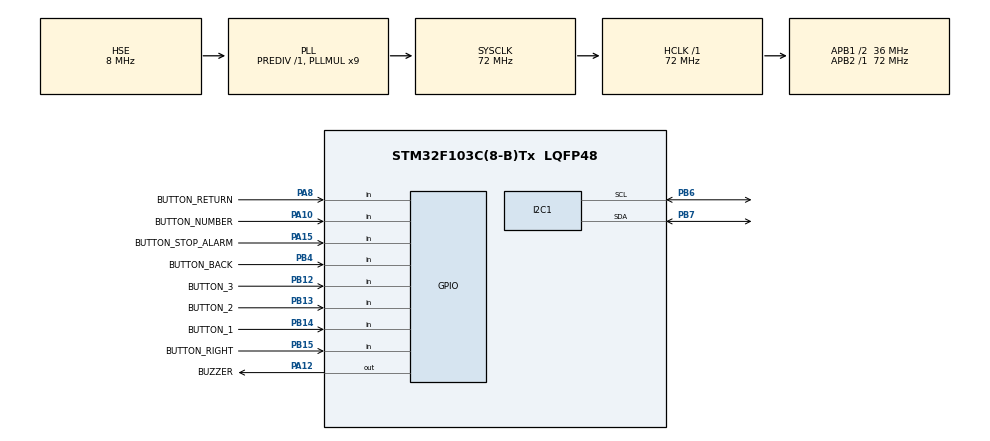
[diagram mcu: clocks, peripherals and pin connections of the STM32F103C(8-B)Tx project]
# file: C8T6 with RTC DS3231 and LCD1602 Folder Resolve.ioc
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Mcu.Family=STM32F1
Mcu.Name=STM32F103C(8-B)Tx
Mcu.Package=LQFP48
NVIC.PriorityGroup=NVIC_PRIORITYGROUP_4
PA10.GPIO_Label=BUTTON_NUMBER
PA10.GPIO_Mode=GPIO_MODE_INPUT
PA10.GPIO_PuPd=GPIO_PULLUP
PA10.Signal=GPIO_Input
PA12.GPIO_Label=BUZZER
PA12.Signal=GPIO_Output
PA13.Mode=Serial_Wire
PA13.Signal=SYS_JTMS-SWDIO
PA14.Mode=Serial_Wire
PA14.Signal=SYS_JTCK-SWCLK
PA15.GPIO_Label=BUTTON_STOP_ALARM
PA15.GPIO_PuPd=GPIO_PULLUP
PA15.Signal=GPIO_Input
PA8.GPIO_Label=BUTTON_RETURN
PA8.GPIO_PuPd=GPIO_PULLUP
PA8.Signal=GPIO_Input
PB12.GPIO_Label=BUTTON_3
PB12.GPIO_Mode=GPIO_MODE_INPUT
PB12.GPIO_PuPd=GPIO_PULLUP
PB12.Signal=GPIO_Input
PB13.GPIO_Label=BUTTON_2
PB13.GPIO_Mode=GPIO_MODE_INPUT
PB13.GPIO_PuPd=GPIO_PULLUP
PB13.Signal=GPIO_Input
PB14.GPIO_Label=BUTTON_1
PB14.GPIO_Mode=GPIO_MODE_INPUT
PB14.GPIO_PuPd=GPIO_PULLUP
PB14.Signal=GPIO_Input
PB15.GPIO_Label=BUTTON_RIGHT
PB15.GPIO_Mode=GPIO_MODE_INPUT
PB15.GPIO_PuPd=GPIO_PULLUP
PB15.Signal=GPIO_Input
PB4.GPIO_Label=BUTTON_BACK
PB4.GPIO_PuPd=GPIO_PULLUP
PB4.Signal=GPIO_Input
PB6.Mode=I2C
PB6.Signal=I2C1_SCL
PB7.Mode=I2C
PB7.Signal=I2C1_SDA
PD0-OSC_IN.Mode=HSE-External-Oscillator
PD0-OSC_IN.Signal=RCC_OSC_IN
PD1-OSC_OUT.Mode=HSE-External-Oscillator
PD1-OSC_OUT.Signal=RCC_OSC_OUT
ProjectManager.HeapSize=0x200
ProjectManager.StackSize=0x400
ProjectManager.TargetToolchain=STM32CubeIDE
RCC.AHBFreq_Value=72000000
RCC.APB1CLKDivider=RCC_HCLK_DIV2
RCC.APB1Freq_Value=36000000
RCC.APB1TimFreq_Value=72000000
RCC.APB2Freq_Value=72000000
RCC.APB2TimFreq_Value=72000000
RCC.HCLKFreq_Value=72000000
RCC.PLLMUL=RCC_PLL_MUL9
RCC.PLLSourceVirtual=RCC_PLLSOURCE_HSE
RCC.SYSCLKFreq_VALUE=72000000
RCC.SYSCLKSource=RCC_SYSCLKSOURCE_PLLCLK
RCC.USBFreq_Value=72000000
board=custom

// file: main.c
/* USER CODE BEGIN Header */
/**
 ******************************************************************************
 * @file           : main.c
 * @brief          : Main program body
 ******************************************************************************
 * @attention
 *
 * <h2><center>&copy; Copyright (c) 2020 STMicroelectronics.
 * All rights reserved.</center></h2>
 *
 * This software component is licensed by ST under BSD 3-Clause license,
 * the "License"; You may not use this file except in compliance with the
 * License. You may obtain a copy of the License at:
 *                        opensource.org/licenses/BSD-3-Clause
 *
 ******************************************************************************
 */
/* USER CODE END Header */
#include "main.h"

/* USER CODE BEGIN Includes */

#include "i2c-lcd.h"
#include "stdio.h"
#include "stdlib.h"
#include "string.h"
#include <stdbool.h>
/* USER CODE END Includes */

I2C_HandleTypeDef hi2c1;

void SystemClock_Config(void);
static void MX_GPIO_Init(void);
static void MX_I2C1_Init(void);

/* USER CODE BEGIN 0 */

#define DS3231_ADDRESS 0xD0

// Convert normal decimal numbers to binary coded decimal
uint8_t decToBcd(int val) {
	return (uint8_t) ((val / 10 * 16) + (val % 10));
}
// Convert binary coded decimal to normal decimal numbers
int bcdToDec(uint8_t val) {
	return (int) ((val / 16 * 10) + (val % 16));
}

typedef struct {
	uint8_t seconds;
	uint8_t minutes;
	uint8_t hour;
	uint8_t dayofweek;
	uint8_t dayofmonth;
	uint8_t month;
	uint8_t year;
} TIME;

TIME time;

// function to set time

void Set_Time(uint8_t sec, uint8_t min, uint8_t hour, uint8_t dow, uint8_t dom,
		uint8_t month, uint8_t year) {
	uint8_t set_time[7];
	set_time[0] = decToBcd(sec);
	set_time[1] = decToBcd(min);
	set_time[2] = decToBcd(hour);
	set_time[3] = decToBcd(dow);
	set_time[4] = decToBcd(dom);
	set_time[5] = decToBcd(month);
	set_time[6] = decToBcd(year);

	HAL_I2C_Mem_Write(&hi2c1, DS3231_ADDRESS, 0x00, 1, set_time, 7, 1000);
}

void Get_Time(void) {
	uint8_t get_time[7];
	HAL_I2C_Mem_Read(&hi2c1, DS3231_ADDRESS, 0x00, 1, get_time, 7, 1000);
	time.seconds = bcdToDec(get_time[0]);
	time.minutes = bcdToDec(get_time[1]);
	time.hour = bcdToDec(get_time[2]);
	time.dayofweek = bcdToDec(get_time[3]);
	time.dayofmonth = bcdToDec(get_time[4]);
	time.month = bcdToDec(get_time[5]);
	time.year = bcdToDec(get_time[6]);
}

float Get_Temp(void) {
	uint8_t temp[2];

	HAL_I2C_Mem_Read(&hi2c1, DS3231_ADDRESS, 0x11, 1, temp, 2, 1000);
	return ((temp[0]) + (temp[1] >> 6) / 4.0);
}

void force_temp_conv(void) {
	uint8_t status = 0;
	uint8_t control = 0;
	HAL_I2C_Mem_Read(&hi2c1, DS3231_ADDRESS, 0x0F, 1, &status, 1, 100); // read status register
	if (!(status & 0x04)) {
		HAL_I2C_Mem_Read(&hi2c1, DS3231_ADDRESS, 0x0E, 1, &control, 1, 100); // read control register
		HAL_I2C_Mem_Write(&hi2c1, DS3231_ADDRESS, 0x0E, 1,
				(uint8_t*) (control | (0x20)), 1, 100);
	}
}
float TEMP;
char buffer[15];

int cur = 6;
int alarm_num[10];
int num_i = 0;
//string num_c[0];
int status_button_1;
int status_button_2;
int status_button_3;
int status_button_return;
int status_button_right;
int status_button_reset;
int status_button_number;
int status_button_stop;
bool check_time(int h, int m, int s) {
	if (time.hour == h && time.minutes == m && time.seconds == s)
		return true;
	else
		return false;
}

void update_Time() {
	Get_Time();

	sprintf(buffer, "%02d:%02d:%02d", time.hour, time.minutes, time.seconds);
	lcd_put_cur(0, 0);
	lcd_send_string(buffer);

	sprintf(buffer, "%02d-%02d-20%02d", time.dayofmonth, time.month, time.year);
	lcd_put_cur(1, 0);
	lcd_send_string(buffer);

	force_temp_conv();

	TEMP = Get_Temp();

	lcd_put_cur(0, 10);

	sprintf(buffer, "%f", TEMP);

	lcd_send_string(buffer);
}

void button_menu() {
	lcd_put_cur(1, 13);
	lcd_send_string("123");
}

void first_menu() {
	lcd_put_cur(0, 0);
	lcd_send_string("1");
	lcd_put_cur(0, 2);
	lcd_send_string("normal alarm");
	lcd_put_cur(1, 0);
	lcd_send_string("time:");
	lcd_put_cur(1, 6);
	lcd_send_string("00:00:00");
	lcd_put_cur(1, 15);
	lcd_send_string("y");
	lcd_put_cur(1, 14);
	lcd_send_data(0x7F);
	lcd_put_cur(1, 6);
}

void second_menu() {
	lcd_put_cur(0, 0);
	lcd_send_string("2");
	lcd_put_cur(0, 2);
	lcd_send_string("count time");
	lcd_put_cur(1, 0);
	lcd_send_string("time:");
	lcd_put_cur(1, 6);
	lcd_send_string("00:00:00");
	lcd_put_cur(1, 15);
	lcd_send_string("y");
	lcd_put_cur(1, 14);
	lcd_send_data(0x7F);
	lcd_put_cur(1, 6);
}

void third_menu() {
	lcd_put_cur(0, 0);
	lcd_send_string("3");
	lcd_put_cur(0, 2);
	lcd_send_string("alarm w time");
	lcd_put_cur(1, 0);
	lcd_send_string("time:");
	lcd_put_cur(1, 6);
	lcd_send_string("00:00:00");
	lcd_put_cur(1, 15);
	lcd_send_string("y");
	lcd_put_cur(1, 14);
	lcd_send_data(0x7F);
	lcd_put_cur(1, 6);
}

void alarm(int hour, int minute, int second) {
	if (check_time(hour, minute, second)) {
		HAL_GPIO_TogglePin(BUZZER_GPIO_Port, BUZZER_Pin);
	}
}

/* USER CODE END 0 */

int main(void) {

	/* MCU Configuration--------------------------------------------------------*/

	/* Reset of all peripherals, Initializes the Flash interface and the Systick. */
	HAL_Init();

	/* Configure the system clock */
	SystemClock_Config();

	/* Initialize all configured peripherals */
	MX_GPIO_Init();
	MX_I2C1_Init();
	/* USER CODE BEGIN 2 */
	int i = 0;
	char s[3];
	int hour = 0;
	int minute = 0;
	int second = 0;
//	itoa(i, s, 10);
	HAL_GPIO_Init(BUZZER_GPIO_Port, BUZZER_Pin);
	HAL_GPIO_WritePin(BUZZER_GPIO_Port, BUZZER_Pin, 1);
//  HAL_GPIO_WritePin(BUZZER_2_GPIO_Port, BUZZER_2_Pin, 1);
//  HAL_GPIO_Init(BUTTON_GPIO_Port, BUTTON_Pin);
//  HAL_GPIO_Init(LED_GPIO_Port, LED_Pin);
	lcd_init();
//	lcd_put_cur(0, 0);
//	lcd_send_string(s);
//  if (HAL_GPIO_ReadPin(BUZZER_GPIO_Port, BUZZER_Pin) == 0) {
//	  HAL_GPIO_WritePin(BUZZER_GPIO_Port, BUZZER_Pin, 1);
//  }
//  HAL_TIM_Base_Start_IT(&htim2);

	//Set_Time(00, 48, 12, 5, 18, 4, 24);
//  	if (check_time(hour, minute, second) == true) {
//		HAL_TIM_Base_Start_IT(&htim2);
//	}
//	if (time.seconds == second + 10) {
//		HAL_TIM_Base_Stop_IT(&htim2);
//	}
//	itoa(hour, s, 10);
//	lcd_send_string(s);
//	lcd_put_cur(1, 4);
//	itoa(minute, s, 10);
//	lcd_send_string(s);
//	lcd_put_cur(1, 10);
//	itoa(second, s, 10);
//	lcd_send_string(s);
//	lcd_put_cur(1, 13);
	/* USER CODE END 2 */

	/* Infinite loop */
	while (1) {

		/* USER CODE BEGIN 3 */

		status_button_1 = HAL_GPIO_ReadPin(BUTTON_1_GPIO_Port, BUTTON_1_Pin);
		status_button_2 = HAL_GPIO_ReadPin(BUTTON_2_GPIO_Port, BUTTON_2_Pin);
		status_button_3 = HAL_GPIO_ReadPin(BUTTON_3_GPIO_Port, BUTTON_3_Pin);
		status_button_stop = HAL_GPIO_ReadPin(BUTTON_STOP_ALARM_GPIO_Port,
		BUTTON_STOP_ALARM_Pin);
//		status_button_number = HAL_GPIO_ReadPin(BUTTON_NUMBER_GPIO_Port,
//		BUTTON_NUMBER_Pin);
		if (status_button_1 == 0) {
//			HAL_Delay(1000);
			lcd_clear();
			first_menu();
			lcd_put_cur(1, 6);
			lcd_send_cmd(0xF);
			while (1) {
				status_button_return = HAL_GPIO_ReadPin(BUTTON_RETURN_GPIO_Port,
				BUTTON_RETURN_Pin);
				status_button_right = HAL_GPIO_ReadPin(BUTTON_RIGHT_GPIO_Port,
				BUTTON_RIGHT_Pin);
				status_button_reset = HAL_GPIO_ReadPin(BUTTON_BACK_GPIO_Port,
				BUTTON_BACK_Pin);
				status_button_number = HAL_GPIO_ReadPin(BUTTON_NUMBER_GPIO_Port,
				BUTTON_NUMBER_Pin);

				if (cur == 15) {
					lcd_clear();
					lcd_put_cur(0, 0);
					lcd_send_string("FINISHED!");
					lcd_put_cur(1, 0);
					hour = alarm_num[1] * 10 + alarm_num[2];
					minute = alarm_num[3] * 10 + alarm_num[4];
					second = alarm_num[5] * 10 + alarm_num[6];
					if (hour >= 24) {
						hour -= 24;
					} else
						hour -= 0;
					HAL_Delay(2000);
					lcd_clear();
					lcd_put_cur(1, 11);
					lcd_send_string("!");
					cur = 6;
					break;
				}
				if (status_button_right == 0) {
					//					if (cur == 6) {
					//						alarm_num[i] = num_i;
					//					}
					num_i = 0;
					if (cur == 7)
						cur = 9;
					else if (cur == 10)
						cur = 12;
					else
						cur++;
					lcd_put_cur(1, cur);
					lcd_send_cmd(0xF);
					//					if (cur == 8 || cur == 11 || cur == 14 || cur == 15) {
					//						i += 0;
					//					} else {
					if (i == 9) {
						i = 0;
					} else i++;
					//					}
					HAL_Delay(500);
				}
				if (status_button_reset == 0 && cur == 14) {
					cur = 6;
					lcd_put_cur(1, cur);
					lcd_send_cmd(0xF);
					HAL_Delay(1000);
				}
				if (status_button_return == 0) {
					lcd_clear();
					break;
				}

				if (status_button_number == 0) {
					HAL_Delay(500);
					num_i++;
					lcd_put_cur(1, cur);
					switch (cur) {
					case 6:
						//
						switch (num_i) {
						case 1:
						case 2:
							char temp[3];
							itoa(num_i, temp, 10);
							lcd_send_string(temp);
							lcd_put_cur(1, cur);
							lcd_send_cmd(0xE);
							alarm_num[i + 1] = num_i;
							break;
						default:
							num_i = 0;
							lcd_send_string("0");
							lcd_put_cur(1, cur);
							lcd_send_cmd(0xE);
							alarm_num[i + 1] = num_i;
							break;
						}
						//
						break;
					case 7:
					case 10:
					case 13:
						//
						switch (num_i) {
						case 1:
						case 2:
						case 3:
						case 4:
						case 5:
						case 6:
						case 7:
						case 8:
						case 9:
							char temp[3];
							itoa(num_i, temp, 10);
							lcd_send_string(temp);
							lcd_put_cur(1, cur);
							lcd_send_cmd(0xE);
							alarm_num[i + 1] = num_i;
							break;
						default:
							num_i = 0;
							lcd_send_string("0");
							lcd_put_cur(1, cur);
							lcd_send_cmd(0xE);
							alarm_num[i + 1] = num_i;
							break;
						}
						//
						break;
					case 9:
					case 12:
						switch (num_i) {
						case 1:
						case 2:
						case 3:
						case 4:
						case 5:
							char temp[3];
							itoa(num_i, temp, 10);
							lcd_send_string(temp);
							lcd_put_cur(1, cur);
							lcd_send_cmd(0xE);
							alarm_num[i + 1] = num_i;
							break;
						default:
							num_i = 0;
							lcd_send_string("0");
							lcd_put_cur(1, cur);
							lcd_send_cmd(0xE);
							alarm_num[i + 1] = num_i;
							break;
						}
						break;
					default:
						lcd_put_cur(1, cur);
						alarm_num[i + 1] = num_i;
						break;
					}
				}
			}
		}

//		if (check_time(hour, minute, second)) {
//			HAL_GPIO_WritePin(BUZZER_GPIO_Port, BUZZER_Pin, 0);
//			if (status_button_stop == 0) {
//				HAL_GPIO_WritePin(BUZZER_GPIO_Port, BUZZER_Pin, 1);
//			}
//		}
		//
		/*
		 * int num = 0;
		 * if (HAL_GPIO_ReadPin(button) == )
		 * */
//			break;
		if (status_button_2 == 0) {
			lcd_clear();
			second_menu();
			lcd_put_cur(1, 6);
			lcd_send_cmd(0xF);
			while (1) {
				status_button_return = HAL_GPIO_ReadPin(BUTTON_RETURN_GPIO_Port,
				BUTTON_RETURN_Pin);
				status_button_right = HAL_GPIO_ReadPin(BUTTON_RIGHT_GPIO_Port,
				BUTTON_RIGHT_Pin);
				status_button_reset = HAL_GPIO_ReadPin(BUTTON_BACK_GPIO_Port,
				BUTTON_BACK_Pin);
				status_button_number = HAL_GPIO_ReadPin(BUTTON_NUMBER_GPIO_Port,
				BUTTON_NUMBER_Pin);

				if (cur == 15) {
					lcd_clear();
					lcd_put_cur(0, 0);
					lcd_send_string("FINISHED!");
					lcd_put_cur(1, 0);
					//					for (int j = 0; j < 8; j++) {
					//						itoa(alarm_num[j], s, 10);
					//						lcd_send_string(s);
					//						lcd_put_cur(1, j);
					//					}

					HAL_Delay(2000);
					lcd_clear();
					cur = 6;
					break;
				}
				if (status_button_reset == 0 && cur == 14) {
					cur = 6;
					lcd_put_cur(1, cur);
					lcd_send_cmd(0xF);
					HAL_Delay(1000);
				}
				if (status_button_return == 0) {
					lcd_clear();
					break;
				}
				if (status_button_right == 0) {
					//					if (cur == 6) {
					//						alarm_num[i] = num_i;
					//					}
					num_i = 0;
					if (cur == 7)
						cur = 9;
					else if (cur == 10)
						cur = 12;
					else
						cur++;
					lcd_put_cur(1, cur);
					lcd_send_cmd(0xF);
					//					if (cur == 8 || cur == 11 || cur == 14 || cur == 15) {
					//						i += 0;
					//					} else {
					//					if (i == 9) {
					//						i = 0;
					//					} else
					//						i++;
					//					}
					HAL_Delay(250);
				}

				if (status_button_number == 0) {
					HAL_Delay(500);
					num_i++;
					lcd_put_cur(1, cur);
					switch (cur) {
					case 6:
						//
						switch (num_i) {
						case 1:
						case 2:
							char temp[3];
							itoa(num_i, temp, 10);
							lcd_send_string(temp);
							lcd_put_cur(1, cur);
							lcd_send_cmd(0xE);
							//							alarm_num[i + 1] = num_i;
							break;
						default:
							num_i = 0;
							lcd_send_string("0");
							lcd_put_cur(1, cur);
							lcd_send_cmd(0xE);
							//							alarm_num[i + 1] = num_i;
							break;
						}
						//
						break;
					case 7:
					case 10:
					case 13:
						//
						switch (num_i) {
						case 1:
						case 2:
						case 3:
						case 4:
						case 5:
						case 6:
						case 7:
						case 8:
						case 9:
							char temp[3];
							itoa(num_i, temp, 10);
							lcd_send_string(temp);
							lcd_put_cur(1, cur);
							lcd_send_cmd(0xE);
							//							alarm_num[i + 1] = num_i;
							break;
						default:
							num_i = 0;
							lcd_send_string("0");
							lcd_put_cur(1, cur);
							lcd_send_cmd(0xE);
							//							alarm_num[i + 1] = num_i;
							break;
						}
						//
						break;
					case 9:
					case 12:
						switch (num_i) {
						case 1:
						case 2:
						case 3:
						case 4:
						case 5:
							char temp[3];
							itoa(num_i, temp, 10);
							lcd_send_string(temp);
							lcd_put_cur(1, cur);
							lcd_send_cmd(0xE);
							//							alarm_num[i + 1] = num_i;
							break;
						default:
							num_i = 0;
							lcd_send_string("0");
							lcd_put_cur(1, cur);
							lcd_send_cmd(0xE);
							//							alarm_num[i + 1] = num_i;
							break;
						}
						break;
					default:
						lcd_put_cur(1, cur);
						//						alarm_num[i + 1] = num_i;
						break;
					}
				}
			}
		}
		if (status_button_3 == 0) {
			lcd_clear();
			third_menu();
			lcd_put_cur(1, 6);
			lcd_send_cmd(0xF);
			while (1) {
				status_button_return = HAL_GPIO_ReadPin(BUTTON_RETURN_GPIO_Port,
				BUTTON_RETURN_Pin);
				status_button_right = HAL_GPIO_ReadPin(BUTTON_RIGHT_GPIO_Port,
				BUTTON_RIGHT_Pin);
				status_button_reset = HAL_GPIO_ReadPin(BUTTON_BACK_GPIO_Port,
				BUTTON_BACK_Pin);
				status_button_number = HAL_GPIO_ReadPin(BUTTON_NUMBER_GPIO_Port,
				BUTTON_NUMBER_Pin);

				if (cur == 15) {
					lcd_clear();
					lcd_put_cur(0, 0);
					lcd_send_string("FINISHED!");
					lcd_put_cur(1, 0);
					//					for (int j = 0; j < 8; j++) {
					//						itoa(alarm_num[j], s, 10);
					//						lcd_send_string(s);
					//						lcd_put_cur(1, j);
					//					}

					HAL_Delay(2000);
					lcd_clear();
					cur = 6;
					break;
				}
				if (status_button_reset == 0 && cur == 14) {
					cur = 6;
					lcd_put_cur(1, cur);
					lcd_send_cmd(0xF);
					HAL_Delay(1000);
				}
				if (status_button_return == 0) {
					lcd_clear();
					break;
				}
				if (status_button_right == 0) {
					//					if (cur == 6) {
					//						alarm_num[i] = num_i;
					//					}
					num_i = 0;
					if (cur == 7)
						cur = 9;
					else if (cur == 10)
						cur = 12;
					else
						cur++;
					lcd_put_cur(1, cur);
					lcd_send_cmd(0xF);
					//					if (cur == 8 || cur == 11 || cur == 14 || cur == 15) {
					//						i += 0;
					//					} else {
					//					if (i == 9) {
					//						i = 0;
					//					} else
					//						i++;
					//					}
					HAL_Delay(250);
				}

				if (status_button_number == 0) {
					HAL_Delay(500);
					num_i++;
					lcd_put_cur(1, cur);
					switch (cur) {
					case 6:
						//
						switch (num_i) {
						case 1:
						case 2:
							char temp[3];
							itoa(num_i, temp, 10);
							lcd_send_string(temp);
							lcd_put_cur(1, cur);
							lcd_send_cmd(0xE);
							//							alarm_num[i + 1] = num_i;
							break;
						default:
							num_i = 0;
							lcd_send_string("0");
							lcd_put_cur(1, cur);
							lcd_send_cmd(0xE);
							//							alarm_num[i + 1] = num_i;
							break;
						}
						//
						break;
					case 7:
					case 10:
					case 13:
						//
						switch (num_i) {
						case 1:
						case 2:
						case 3:
						case 4:
						case 5:
						case 6:
						case 7:
						case 8:
						case 9:
							char temp[3];
							itoa(num_i, temp, 10);
							lcd_send_string(temp);
							lcd_put_cur(1, cur);
							lcd_send_cmd(0xE);
							//							alarm_num[i + 1] = num_i;
							break;
						default:
							num_i = 0;
							lcd_send_string("0");
							lcd_put_cur(1, cur);
							lcd_send_cmd(0xE);
							//							alarm_num[i + 1] = num_i;
							break;
						}
						//
						break;
					case 9:
					case 12:
						switch (num_i) {
						case 1:
						case 2:
						case 3:
						case 4:
						case 5:
							char temp[3];
							itoa(num_i, temp, 10);
							lcd_send_string(temp);
							lcd_put_cur(1, cur);
							lcd_send_cmd(0xE);
							//							alarm_num[i + 1] = num_i;
							break;
						default:
							num_i = 0;
							lcd_send_string("0");
							lcd_put_cur(1, cur);
							lcd_send_cmd(0xE);
							//							alarm_num[i + 1] = num_i;
							break;
						}
						break;
					default:
						lcd_put_cur(1, cur);
						//						alarm_num[i + 1] = num_i;
						break;
					}
				}
			}
		}
		update_Time();
		button_menu();
		if (time.hour == hour && time.minutes == minute
				&& time.seconds == second) {
			HAL_GPIO_WritePin(BUZZER_GPIO_Port, BUZZER_Pin, 0);
			update_Time();
			button_menu();
		} else
			continue;
//		alarm();

//		if (status_button_2 == 0) {
//			second_menu();
//		}
//		if (status_button_3 == 0) {
//			second_menu();
//		}
	}
//	while (1) {
//		if (status_button_right == 0) {
//			lcd_send_cmd(0x14);
//		} else if (status_button_left == 0) {
//			lcd_send_cmd(0x10);
//		}
//		lcd_send_cmd(0xF);
//	}
	/* USER CODE END 3 */
}

void SystemClock_Config(void) {
	RCC_OscInitTypeDef RCC_OscInitStruct = { 0 };
	RCC_ClkInitTypeDef RCC_ClkInitStruct = { 0 };

	/** Initializes the RCC Oscillators according to the specified parameters
	 * in the RCC_OscInitTypeDef structure.
	 */
	RCC_OscInitStruct.OscillatorType = RCC_OSCILLATORTYPE_HSE;
	RCC_OscInitStruct.HSEState = RCC_HSE_ON;
	RCC_OscInitStruct.HSEPredivValue = RCC_HSE_PREDIV_DIV1;
	RCC_OscInitStruct.HSIState = RCC_HSI_ON;
	RCC_OscInitStruct.PLL.PLLState = RCC_PLL_ON;
	RCC_OscInitStruct.PLL.PLLSource = RCC_PLLSOURCE_HSE;
	RCC_OscInitStruct.PLL.PLLMUL = RCC_PLL_MUL9;
	if (HAL_RCC_OscConfig(&RCC_OscInitStruct) != HAL_OK) {
		Error_Handler();
	}

	/** Initializes the CPU, AHB and APB buses clocks
	 */
	RCC_ClkInitStruct.ClockType = RCC_CLOCKTYPE_HCLK | RCC_CLOCKTYPE_SYSCLK
			| RCC_CLOCKTYPE_PCLK1 | RCC_CLOCKTYPE_PCLK2;
	RCC_ClkInitStruct.SYSCLKSource = RCC_SYSCLKSOURCE_PLLCLK;
	RCC_ClkInitStruct.AHBCLKDivider = RCC_SYSCLK_DIV1;
	RCC_ClkInitStruct.APB1CLKDivider = RCC_HCLK_DIV2;
	RCC_ClkInitStruct.APB2CLKDivider = RCC_HCLK_DIV1;

	if (HAL_RCC_ClockConfig(&RCC_ClkInitStruct, FLASH_LATENCY_2) != HAL_OK) {
		Error_Handler();
	}
}

static void MX_I2C1_Init(void) {

	hi2c1.Instance = I2C1;
	hi2c1.Init.ClockSpeed = 100000;
	hi2c1.Init.DutyCycle = I2C_DUTYCYCLE_2;
	hi2c1.Init.OwnAddress1 = 0;
	hi2c1.Init.AddressingMode = I2C_ADDRESSINGMODE_7BIT;
	hi2c1.Init.DualAddressMode = I2C_DUALADDRESS_DISABLE;
	hi2c1.Init.OwnAddress2 = 0;
	hi2c1.Init.GeneralCallMode = I2C_GENERALCALL_DISABLE;
	hi2c1.Init.NoStretchMode = I2C_NOSTRETCH_DISABLE;
	if (HAL_I2C_Init(&hi2c1) != HAL_OK) {
		Error_Handler();
	}

}

static void MX_GPIO_Init(void) {
	GPIO_InitTypeDef GPIO_InitStruct = { 0 };

	/* GPIO Ports Clock Enable */
	__HAL_RCC_GPIOD_CLK_ENABLE();
	__HAL_RCC_GPIOB_CLK_ENABLE();
	__HAL_RCC_GPIOA_CLK_ENABLE();

	/*Configure GPIO pin Output Level */
	HAL_GPIO_WritePin(BUZZER_GPIO_Port, BUZZER_Pin, GPIO_PIN_RESET);

	/*Configure GPIO pins : BUTTON_3_Pin BUTTON_2_Pin BUTTON_1_Pin BUTTON_RIGHT_Pin
	 BUTTON_BACK_Pin */
	GPIO_InitStruct.Pin = BUTTON_3_Pin | BUTTON_2_Pin | BUTTON_1_Pin
			| BUTTON_RIGHT_Pin | BUTTON_BACK_Pin;
	GPIO_InitStruct.Mode = GPIO_MODE_INPUT;
	GPIO_InitStruct.Pull = GPIO_PULLUP;
	HAL_GPIO_Init(GPIOB, &GPIO_InitStruct);

	/*Configure GPIO pins : BUTTON_RETURN_Pin BUTTON_NUMBER_Pin BUTTON_STOP_ALARM_Pin */
	GPIO_InitStruct.Pin = BUTTON_RETURN_Pin | BUTTON_NUMBER_Pin
			| BUTTON_STOP_ALARM_Pin;
	GPIO_InitStruct.Mode = GPIO_MODE_INPUT;
	GPIO_InitStruct.Pull = GPIO_PULLUP;
	HAL_GPIO_Init(GPIOA, &GPIO_InitStruct);

	/*Configure GPIO pin : BUZZER_Pin */
	GPIO_InitStruct.Pin = BUZZER_Pin;
	GPIO_InitStruct.Mode = GPIO_MODE_OUTPUT_PP;
	GPIO_InitStruct.Pull = GPIO_NOPULL;
	GPIO_InitStruct.Speed = GPIO_SPEED_FREQ_LOW;
	HAL_GPIO_Init(BUZZER_GPIO_Port, &GPIO_InitStruct);

}

void Error_Handler(void) {
}
